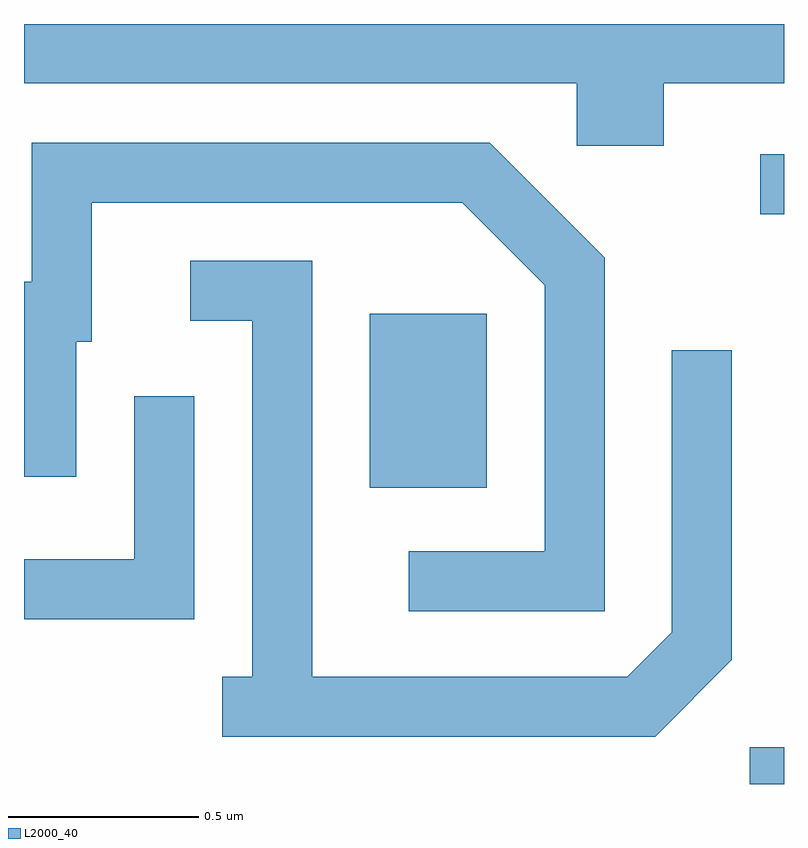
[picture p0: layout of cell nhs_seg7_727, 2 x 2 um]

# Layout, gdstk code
import gdstk
lib = gdstk.Library(unit=1e-6, precision=1e-09)
def R(c, l, rs):  # rectangles x0, y0, x1, y1
    for r in rs: c.add(gdstk.rectangle(r[:2], r[2:], *l))
def P(c, l, *ps):  # polygons
    for p in ps: c.add(gdstk.Polygon(p, *l))
L2000_40 = (2000, 40)

nhs_seg7_727 = lib.new_cell('nhs_seg7_727')
R(nhs_seg7_727, L2000_40, [(192.521,1710.252,192.611,1710.349), (191.521,1711.031,191.829,1711.489), (192.548,1711.751,192.611,1711.909)])
P(nhs_seg7_727, L2000_40, [(192.294,1712.096),(192.611,1712.096),(192.611,1712.252),(190.611,1712.252),(190.611,1712.096),(192.066,1712.096),(192.066,1711.931),(192.294,1711.931)],
  [(192.139,1711.637),(191.837,1711.939),(190.631,1711.939),(190.631,1711.574),(190.611,1711.574),(190.611,1711.061),(190.749,1711.061),(190.749,1711.416),(190.789,1711.416),(190.789,1711.781),(191.764,1711.781),(191.981,1711.564),(191.981,1710.864),(191.623,1710.864),(191.623,1710.706),(192.139,1710.706)],
  [(192.474,1710.579),(192.474,1711.393),(192.316,1711.393),(192.316,1710.652),(192.199,1710.534),(191.369,1710.534),(191.369,1711.629),(191.048,1711.629),(191.048,1711.471),(191.211,1711.471),(191.211,1710.534),(191.133,1710.534),(191.133,1710.376),(192.272,1710.376)],
  [(191.059,1711.273),(190.901,1711.273),(190.901,1710.844),(190.611,1710.844),(190.611,1710.686),(191.059,1710.686)])

lib.write_gds('nhs_seg7_727.gds')
